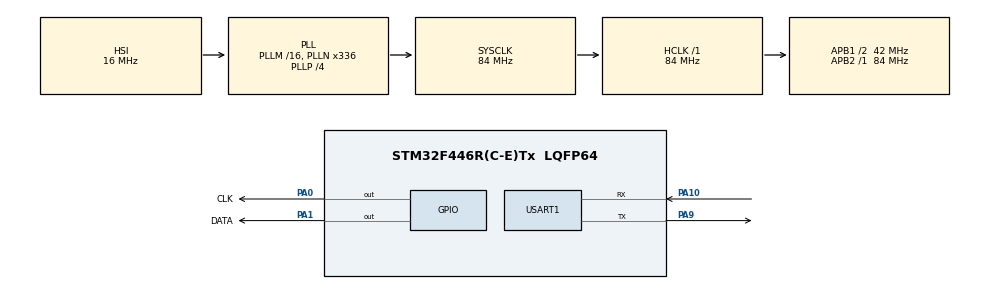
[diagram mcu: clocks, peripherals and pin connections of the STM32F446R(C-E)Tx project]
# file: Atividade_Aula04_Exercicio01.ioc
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FREERTOS.CountingSemaphores01=CountingSem01,2,Dynamic,NULL,2
FREERTOS.Tasks01=Task01,24,128,StartTask01,Default,NULL,Dynamic,NULL,NULL;Task02,23,128,StartTask02,Default,NULL,Dynamic,NULL,NULL;InitTask,40,128,StartInitTask,Default,NULL,Dynamic,NULL,NULL;Task03,22,128,StartTask03,Default,NULL,Dynamic,NULL,NULL
FREERTOS.configUSE_NEWLIB_REENTRANT=1
Mcu.Family=STM32F4
Mcu.Name=STM32F446R(C-E)Tx
Mcu.Package=LQFP64
NVIC.PriorityGroup=NVIC_PRIORITYGROUP_4
NVIC.TIM6_DAC_IRQn=true\:15\:0\:false\:false\:true\:false\:false\:true\:true
NVIC.TimeBase=TIM6_DAC_IRQn
NVIC.TimeBaseIP=TIM6
PA0-WKUP.GPIO_Label=CLK
PA0-WKUP.GPIO_Speed=GPIO_SPEED_FREQ_HIGH
PA0-WKUP.Signal=GPIO_Output
PA1.GPIO_Label=DATA
PA1.GPIO_Speed=GPIO_SPEED_FREQ_HIGH
PA1.Signal=GPIO_Output
PA10.Mode=Asynchronous
PA10.Signal=USART1_RX
PA9.Mode=Asynchronous
PA9.Signal=USART1_TX
PC14-OSC32_IN.Mode=LSE-External-Oscillator
PC14-OSC32_IN.Signal=RCC_OSC32_IN
PC15-OSC32_OUT.Mode=LSE-External-Oscillator
PC15-OSC32_OUT.Signal=RCC_OSC32_OUT
ProjectManager.HeapSize=0x200
ProjectManager.StackSize=0x400
ProjectManager.TargetToolchain=STM32CubeIDE
RCC.AHBFreq_Value=84000000
RCC.APB1CLKDivider=RCC_HCLK_DIV2
RCC.APB1Freq_Value=42000000
RCC.APB1TimFreq_Value=84000000
RCC.APB2Freq_Value=84000000
RCC.APB2TimFreq_Value=84000000
RCC.CortexFreq_Value=84000000
RCC.FLatency-AdvancedSettings=FLASH_LATENCY_2
RCC.HCLKFreq_Value=84000000
RCC.HSE_VALUE=8000000
RCC.HSI_VALUE=16000000
RCC.PLLN=336
RCC.PLLP=RCC_PLLP_DIV4
RCC.SYSCLKFreq_VALUE=84000000
RCC.SYSCLKSource=RCC_SYSCLKSOURCE_PLLCLK
RCC.USBFreq_Value=168000000
RCC.VCOOutputFreq_Value=336000000
USART1.VirtualMode=VM_ASYNC
VP_FREERTOS_VS_CMSIS_V2.Mode=CMSIS_V2
VP_SYS_VS_tim6.Mode=TIM6
board=NUCLEO-F446RE

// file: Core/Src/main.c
/* USER CODE BEGIN Header */
/**
  ******************************************************************************
  * @file           : main.c
  * @brief          : Main program body
  ******************************************************************************
  * @attention
  *
  * Copyright (c) 2025 STMicroelectronics.
  * All rights reserved.
  *
  * This software is licensed under terms that can be found in the LICENSE file
  * in the root directory of this software component.
  * If no LICENSE file comes with this software, it is provided AS-IS.
  *
  ******************************************************************************
  */
/* USER CODE END Header */
#include "main.h"
#include "cmsis_os.h"

/* USER CODE BEGIN Includes */
#include<string.h>
#include<stdio.h>
#include "TM1637.h"
/* USER CODE END Includes */

UART_HandleTypeDef huart1;

/* Definitions for Task01 */
osThreadId_t Task01Handle;
const osThreadAttr_t Task01_attributes = {
  .name = "Task01",
  .stack_size = 128 * 4,
  .priority = (osPriority_t) osPriorityNormal,
};
/* Definitions for Task02 */
osThreadId_t Task02Handle;
const osThreadAttr_t Task02_attributes = {
  .name = "Task02",
  .stack_size = 128 * 4,
  .priority = (osPriority_t) osPriorityBelowNormal7,
};
/* Definitions for InitTask */
osThreadId_t InitTaskHandle;
const osThreadAttr_t InitTask_attributes = {
  .name = "InitTask",
  .stack_size = 128 * 4,
  .priority = (osPriority_t) osPriorityHigh,
};
/* Definitions for Task03 */
osThreadId_t Task03Handle;
const osThreadAttr_t Task03_attributes = {
  .name = "Task03",
  .stack_size = 128 * 4,
  .priority = (osPriority_t) osPriorityBelowNormal6,
};
/* Definitions for CountingSem01 */
osSemaphoreId_t CountingSem01Handle;
const osSemaphoreAttr_t CountingSem01_attributes = {
  .name = "CountingSem01"
};
/* USER CODE BEGIN PV */
uint32_t cont;

/* USER CODE END PV */

void SystemClock_Config(void);
static void MX_GPIO_Init(void);
static void MX_USART1_UART_Init(void);
void StartTask01(void *argument);
void StartTask02(void *argument);
void StartInitTask(void *argument);
void StartTask03(void *argument);

int main(void)
{

  /* MCU Configuration--------------------------------------------------------*/

  /* Reset of all peripherals, Initializes the Flash interface and the Systick. */
  HAL_Init();

  /* Configure the system clock */
  SystemClock_Config();

  /* Initialize all configured peripherals */
  MX_GPIO_Init();
  MX_USART1_UART_Init();

  /* Init scheduler */
  osKernelInitialize();

  /* Create the semaphores(s) */
  /* creation of CountingSem01 */
  CountingSem01Handle = osSemaphoreNew(2, 2, &CountingSem01_attributes);

  /* Create the thread(s) */
  /* creation of Task01 */
  Task01Handle = osThreadNew(StartTask01, NULL, &Task01_attributes);

  /* creation of Task02 */
  Task02Handle = osThreadNew(StartTask02, NULL, &Task02_attributes);

  /* creation of InitTask */
  InitTaskHandle = osThreadNew(StartInitTask, NULL, &InitTask_attributes);

  /* creation of Task03 */
  Task03Handle = osThreadNew(StartTask03, NULL, &Task03_attributes);

  /* Start scheduler */
  osKernelStart();

  /* We should never get here as control is now taken by the scheduler */

  /* Infinite loop */
  while (1)
  {

  }
}

void SystemClock_Config(void)
{
  RCC_OscInitTypeDef RCC_OscInitStruct = {0};
  RCC_ClkInitTypeDef RCC_ClkInitStruct = {0};

  /** Configure the main internal regulator output voltage
  */
  __HAL_RCC_PWR_CLK_ENABLE();
  __HAL_PWR_VOLTAGESCALING_CONFIG(PWR_REGULATOR_VOLTAGE_SCALE3);

  /** Initializes the RCC Oscillators according to the specified parameters
  * in the RCC_OscInitTypeDef structure.
  */
  RCC_OscInitStruct.OscillatorType = RCC_OSCILLATORTYPE_HSI;
  RCC_OscInitStruct.HSIState = RCC_HSI_ON;
  RCC_OscInitStruct.HSICalibrationValue = RCC_HSICALIBRATION_DEFAULT;
  RCC_OscInitStruct.PLL.PLLState = RCC_PLL_ON;
  RCC_OscInitStruct.PLL.PLLSource = RCC_PLLSOURCE_HSI;
  RCC_OscInitStruct.PLL.PLLM = 16;
  RCC_OscInitStruct.PLL.PLLN = 336;
  RCC_OscInitStruct.PLL.PLLP = RCC_PLLP_DIV4;
  RCC_OscInitStruct.PLL.PLLQ = 2;
  RCC_OscInitStruct.PLL.PLLR = 2;
  if (HAL_RCC_OscConfig(&RCC_OscInitStruct) != HAL_OK)
  {
    Error_Handler();
  }

  /** Initializes the CPU, AHB and APB buses clocks
  */
  RCC_ClkInitStruct.ClockType = RCC_CLOCKTYPE_HCLK|RCC_CLOCKTYPE_SYSCLK
                              |RCC_CLOCKTYPE_PCLK1|RCC_CLOCKTYPE_PCLK2;
  RCC_ClkInitStruct.SYSCLKSource = RCC_SYSCLKSOURCE_PLLCLK;
  RCC_ClkInitStruct.AHBCLKDivider = RCC_SYSCLK_DIV1;
  RCC_ClkInitStruct.APB1CLKDivider = RCC_HCLK_DIV2;
  RCC_ClkInitStruct.APB2CLKDivider = RCC_HCLK_DIV1;

  if (HAL_RCC_ClockConfig(&RCC_ClkInitStruct, FLASH_LATENCY_2) != HAL_OK)
  {
    Error_Handler();
  }
}

static void MX_USART1_UART_Init(void)
{

  huart1.Instance = USART1;
  huart1.Init.BaudRate = 115200;
  huart1.Init.WordLength = UART_WORDLENGTH_8B;
  huart1.Init.StopBits = UART_STOPBITS_1;
  huart1.Init.Parity = UART_PARITY_NONE;
  huart1.Init.Mode = UART_MODE_TX_RX;
  huart1.Init.HwFlowCtl = UART_HWCONTROL_NONE;
  huart1.Init.OverSampling = UART_OVERSAMPLING_16;
  if (HAL_UART_Init(&huart1) != HAL_OK)
  {
    Error_Handler();
  }

}

static void MX_GPIO_Init(void)
{
  GPIO_InitTypeDef GPIO_InitStruct = {0};

  /* GPIO Ports Clock Enable */
  __HAL_RCC_GPIOC_CLK_ENABLE();
  __HAL_RCC_GPIOA_CLK_ENABLE();

  /*Configure GPIO pin Output Level */
  HAL_GPIO_WritePin(GPIOA, CLK_Pin|DATA_Pin, GPIO_PIN_RESET);

  /*Configure GPIO pins : CLK_Pin DATA_Pin */
  GPIO_InitStruct.Pin = CLK_Pin|DATA_Pin;
  GPIO_InitStruct.Mode = GPIO_MODE_OUTPUT_PP;
  GPIO_InitStruct.Pull = GPIO_NOPULL;
  GPIO_InitStruct.Speed = GPIO_SPEED_FREQ_HIGH;
  HAL_GPIO_Init(GPIOA, &GPIO_InitStruct);

}

void StartTask01(void *argument)
{
  /* USER CODE BEGIN 5 */
  char *msg = "Task01 Adquirindo um Semaforo";
  char buffer[64];

  /* Infinite loop */
  for(;;)
  {

	  cont =osSemaphoreGetCount(CountingSem01Handle);
	  snprintf(buffer,64,"o Contador(Initial) : %lu ",cont);
	  HAL_UART_Transmit(&huart1, (uint8_t*)buffer,strlen(buffer),100);

	  osSemaphoreAcquire(CountingSem01Handle,osWaitForever);
	  HAL_UART_Transmit(&huart1, (uint8_t*)msg,strlen(msg),100);

	  TM1637_DisplayString("A.01", TM1637_ADDR_POS0);
	  osDelay(1000);

	  cont =osSemaphoreGetCount(CountingSem01Handle);
	  snprintf(buffer,64,"o Contador(End) : %lu ",cont);
	  HAL_UART_Transmit(&huart1, (uint8_t*)buffer,strlen(buffer),100);

      osDelay(100);
  }
  /* USER CODE END 5 */
}

void StartTask02(void *argument)
{
  /* USER CODE BEGIN StartTask02 */
  char *msg = "Task02 Adquirindo um Semafaro ";
  char buffer[64];
  /* Infinite loop */
  for(;;)
  {
	      cont =osSemaphoreGetCount(CountingSem01Handle);
	  	  snprintf(buffer,64,"o Contador(Initial) : %lu ",cont);
	  	  HAL_UART_Transmit(&huart1, (uint8_t*)buffer,strlen(buffer),100);

	  	  osSemaphoreAcquire(CountingSem01Handle,osWaitForever);
	  	  HAL_UART_Transmit(&huart1, (uint8_t*)msg,strlen(msg),100);
	  	  osDelay(1000);
	  	  TM1637_DisplayString("A.02", TM1637_ADDR_POS0);

	  	  cont =osSemaphoreGetCount(CountingSem01Handle);
	  	  snprintf(buffer,64,"o Contador(End) : %lu ",cont);
	  	  HAL_UART_Transmit(&huart1, (uint8_t*)buffer,strlen(buffer),100);

	  osDelay(100);
  }
  /* USER CODE END StartTask02 */
}

void StartInitTask(void *argument)
{
  /* USER CODE BEGIN StartInitTask */
  /* Infinite loop */
	TM1637_Init();
	//osSemaphoreRelease(CountingSem01Handle);
	//osSemaphoreRelease(CountingSem01Handle);

  for(;;)
  {

	  /*while(cont == 0)
	  {
		  TM1637_Clear();
		  osDelay(500);
		  TM1637_DisplayString("0.2",TM1637_ADDR_POS0);
		  osDelay(500);
	  }*/

	  osDelay(100);

  }
  /* USER CODE END StartInitTask */
}

void StartTask03(void *argument)
{
  /* USER CODE BEGIN StartTask03 */
  char *msg = "Task03 Adquirindo um Semafaro";
  /* Infinite loop */
  for(;;)
  {
	osSemaphoreAcquire(CountingSem01Handle,2000);
	cont = osSemaphoreGetCount(CountingSem01Handle);
	HAL_UART_Transmit(&huart1,(uint8_t *)msg,strlen(msg),100);

    osDelay(100);
  }
  /* USER CODE END StartTask03 */
}

void HAL_TIM_PeriodElapsedCallback(TIM_HandleTypeDef *htim)
{
  if (htim->Instance == TIM6) {
    HAL_IncTick();
  }
}

void Error_Handler(void)
{
  __disable_irq();
  while (1)
  {
  }
}
